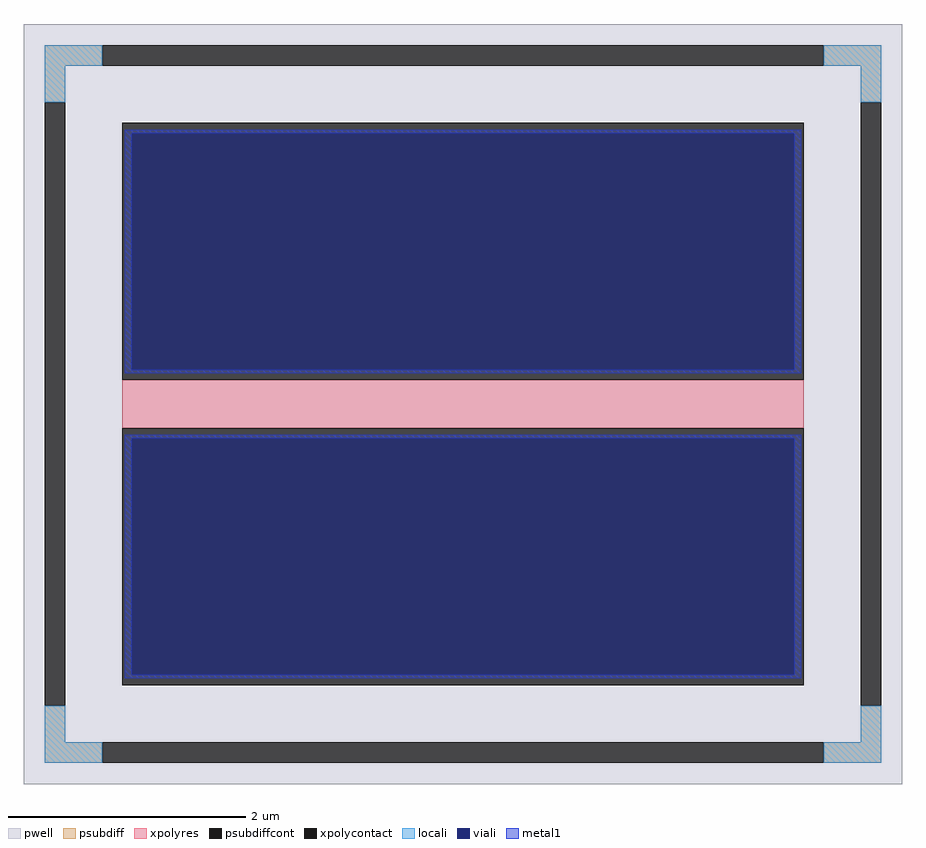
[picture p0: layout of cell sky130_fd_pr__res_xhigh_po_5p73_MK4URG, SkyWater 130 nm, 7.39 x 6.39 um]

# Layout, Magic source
magic
tech sky130A
magscale 1 2
<< pwell >>
rect -739 -639 739 639
<< psubdiff >>
rect -703 569 -607 603
rect 607 569 703 603
rect -703 507 -669 569
rect 669 507 703 569
rect -703 -569 -669 -507
rect 669 -569 703 -507
rect -703 -603 -607 -569
rect 607 -603 703 -569
<< psubdiffcont >>
rect -607 569 607 603
rect -703 -507 -669 507
rect 669 -507 703 507
rect -607 -603 607 -569
<< xpolycontact >>
rect -573 41 573 473
rect -573 -473 573 -41
<< xpolyres >>
rect -573 -41 573 41
<< locali >>
rect -703 569 -607 603
rect 607 569 703 603
rect -703 507 -669 569
rect 669 507 703 569
rect -703 -569 -669 -507
rect 669 -569 703 -507
rect -703 -603 -607 -569
rect 607 -603 703 -569
<< viali >>
rect -557 58 557 455
rect -557 -455 557 -58
<< metal1 >>
rect -569 455 569 461
rect -569 58 -557 455
rect 557 58 569 455
rect -569 52 569 58
rect -569 -58 569 -52
rect -569 -455 -557 -58
rect 557 -455 569 -58
rect -569 -461 569 -455
<< properties >>
string FIXED_BBOX -686 -586 686 586
string gencell sky130_fd_pr__res_xhigh_po_5p73
string library sky130
string parameters w 5.730 l 0.573 m 1 nx 1 wmin 5.730 lmin 0.50 rho 2000 val 265.689 dummy 0 dw 0.0 term 188.2 sterm 0.0 caplen 0 wmax 5.730 guard 1 glc 1 grc 1 gtc 1 gbc 1 compatible {sky130_fd_pr__res_xhigh_po_0p35  sky130_fd_pr__res_xhigh_po_0p69 sky130_fd_pr__res_xhigh_po_1p41  sky130_fd_pr__res_xhigh_po_2p85 sky130_fd_pr__res_xhigh_po_5p73} snake 0 full_metal 1 n_guard 0 hv_guard 0 vias 1 viagb 0 viagt 0 viagl 0 viagr 0
<< end >>
